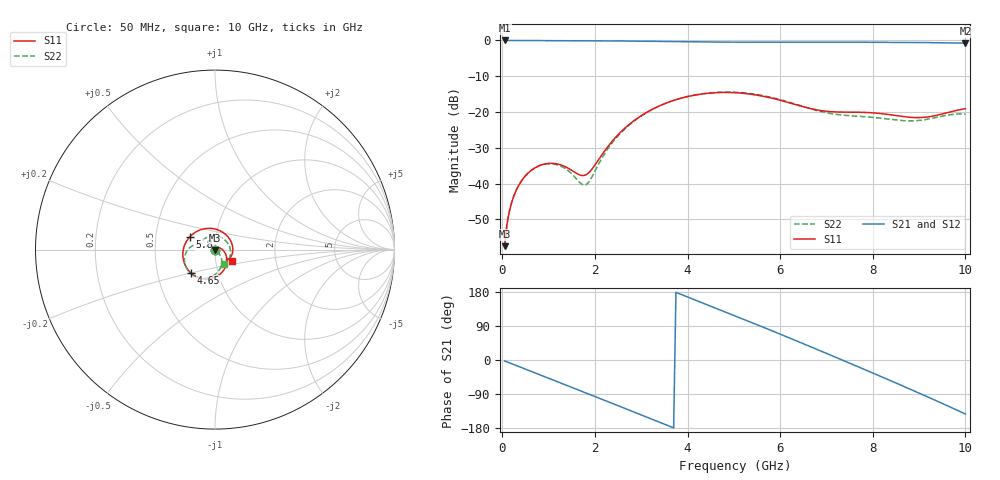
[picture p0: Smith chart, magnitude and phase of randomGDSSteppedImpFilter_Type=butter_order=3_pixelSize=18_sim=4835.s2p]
! freq	dB(S11)	phase(S11)	dB(S12)	phase(S12)
!  dB(S21)	phase(S21)	dB(S22)	phase(S22)
!S-par simulation data
#  GHz  S  DB  R 50
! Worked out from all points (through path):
!   200 points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, 50 MHz to 10 GHz, reference 50 ohm
!   highest |S21| = 0.00 dB at 50 MHz (marker M1); lowest = -0.7 dB at 10 GHz (marker M2)
!   group delay of S21, straight-line fit = 139 ps
!   lowest |S11| = -57.5 dB at 50 MHz (marker M3), VSWR 1.00, Z = 50 - j0.134 ohm
!   |S11| at or under -10 dB: start of sweep to end of sweep
!   |S22| runs from -57.4 to -14.4 dB; largest |S21 - S12| = 0
!   S11 on the Smith chart (normalised r, x): 50 MHz: 1.00, -0.00; 4.65 GHz: 0.74, -0.20; 5.8 GHz: 0.75, +0.11; 10 GHz: 1.19, -0.15
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0.05  -57.47 -89.4  -0.00 -2.5  -0.00 -2.5  -57.44 -88.5
0.1  -51.43 -93.3  -0.01 -4.9  -0.01 -4.9  -51.40 -91.4
0.15  -47.88 -96.5  -0.01 -7.3  -0.01 -7.3  -47.85 -93.6
0.25  -43.44 -102.6  -0.02 -12.1  -0.02 -12.1  -43.39 -97.8
0.6  -36.57 -125.2  -0.03 -28.9  -0.03 -28.9  -36.53 -112.8
1.15  -34.41 -165.1  -0.06 -55.3  -0.06 -55.3  -34.61 -131.5
1.75  -37.75 107.0  -0.09 -84.2  -0.09 -84.2  -40.39 -101.0
1.9  -36.53 70.5  -0.10 -91.5  -0.10 -91.5  -38.94 -68.7
2.5  -26.33 -7.8  -0.15 -120.6  -0.15 -120.6  -26.62 -49.0
3.4  -18.24 -65.8  -0.27 -164.4  -0.27 -164.4  -18.25 -81.2
4  -15.68 -99.5  -0.37 166.4  -0.37 166.4  -15.65 -106.1
4.65  -14.57 -135.8  -0.46 134.8  -0.46 134.8  -14.48 -132.8
5.05  -14.61 -158.9  -0.49 115.3  -0.49 115.3  -14.49 -148.6
5.8  -16.06 153.1  -0.48 78.3  -0.48 78.3  -15.88 -175.2
6.25  -17.62 118.9  -0.46 55.7  -0.46 55.7  -17.47 172.6
6.7  -19.16 79.1  -0.45 32.8  -0.45 32.8  -19.24 164.9
7.5  -20.04 8.1  -0.48 -8.3  -0.48 -8.3  -21.02 153.4
8.35  -20.70 -36.2  -0.53 -52.7  -0.53 -52.7  -22.00 110.4
8.75  -21.40 -41.9  -0.56 -73.9  -0.56 -73.9  -22.46 73.7
9.15  -21.42 -38.9  -0.60 -95.5  -0.60 -95.5  -22.07 30.1
9.55  -20.38 -34.9  -0.66 -117.3  -0.66 -117.3  -21.02 -12.4
10  -19.07 -33.9  -0.75 -142.5  -0.75 -142.5  -20.57 -57.4
